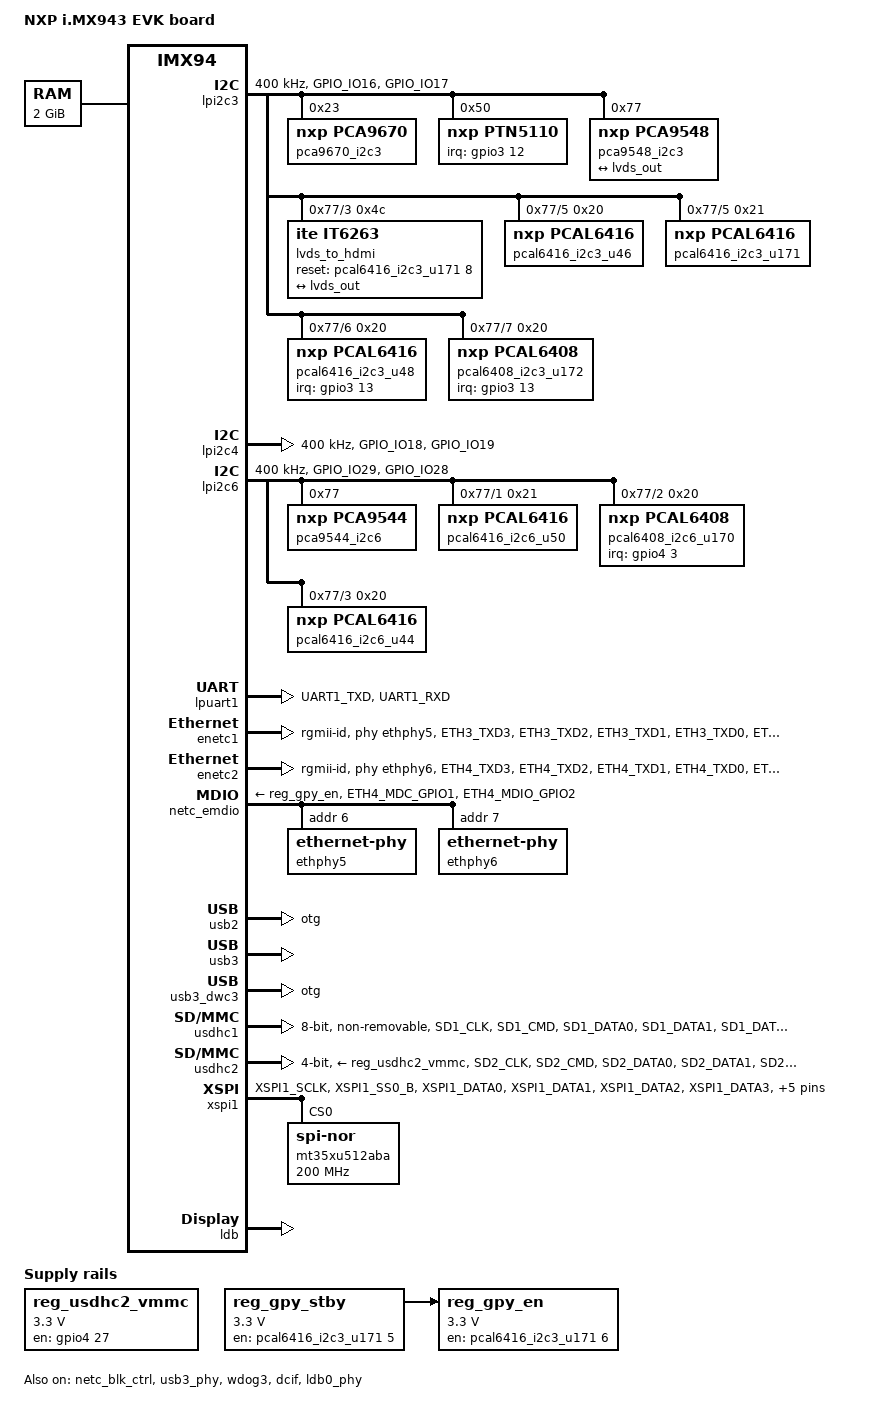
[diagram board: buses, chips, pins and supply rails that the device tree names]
// SPDX-License-Identifier: (GPL-2.0+ OR MIT)
/*
 * Copyright 2024-2025 NXP
 */

/dts-v1/;

#include "imx943.dtsi"
#include <dt-bindings/usb/pd.h>

/ {
	model = "NXP i.MX943 EVK board";
	compatible = "fsl,imx943-evk", "fsl,imx94";

	aliases {
		mmc0 = &usdhc1;
		mmc1 = &usdhc2;
		serial0 = &lpuart1;
		ethernet0 = &enetc3;
		ethernet1 = &enetc1;
		ethernet2 = &enetc2;
	};

	chosen {
		bootargs = "console=ttyLP0,115200 earlycon";
		stdout-path = &lpuart1;
	};

	memory@80000000 {
		device_type = "memory";
		reg = <0x0 0x80000000 0x0 0x80000000>;
	};

	reserved-memory {
		#address-cells = <2>;
		#size-cells = <2>;
		ranges;

		linux,cma {
			compatible = "shared-dma-pool";
			reusable;
			size = <0 0x10000000>;
			alloc-ranges = <0 0x80000000 0 0x7F000000>;
			linux,cma-default;
		};
	};

	reg_usdhc2_vmmc: regulator-usdhc2 {
		compatible = "regulator-fixed";
		pinctrl-names = "default";
		pinctrl-0 = <&pinctrl_reg_usdhc2_vmmc>;
		regulator-name = "VDD_SD2_3V3";
		regulator-min-microvolt = <3300000>;
		regulator-max-microvolt = <3300000>;
		gpio = <&gpio4 27 GPIO_ACTIVE_HIGH>;
		off-on-delay-us = <12000>;
		enable-active-high;
	};

	reg_gpy_stby: regulator-gpy-stby {
		compatible = "regulator-fixed";
		regulator-name = "gpy-stby";
		regulator-min-microvolt = <3300000>;
		regulator-max-microvolt = <3300000>;
		gpio = <&pcal6416_i2c3_u171 5 GPIO_ACTIVE_HIGH>;
		enable-active-high;
	};

	reg_gpy_en: regulator-gpy-en {
		compatible = "regulator-fixed";
		regulator-name = "gpy-en";
		regulator-min-microvolt = <3300000>;
		regulator-max-microvolt = <3300000>;
		vin-supply = <&reg_gpy_stby>;
		gpio = <&pcal6416_i2c3_u171 6 GPIO_ACTIVE_HIGH>;
		enable-active-high;
	};

};

&lpi2c3 {
	clock-frequency = <400000>;
	pinctrl-names = "default";
	pinctrl-0 = <&pinctrl_lpi2c3>;
	status = "okay";

	pca9670_i2c3: gpio@23 {
		compatible = "nxp,pca9670";
		reg = <0x23>;
		gpio-controller;
		#gpio-cells = <2>;
	};

	ptn5110: tcpc@50 {
		compatible = "nxp,ptn5110", "tcpci";
		reg = <0x50>;
		pinctrl-names = "default";
		pinctrl-0 = <&pinctrl_typec>;
		interrupt-parent = <&gpio3>;
		interrupts = <12 IRQ_TYPE_LEVEL_LOW>;

		typec_con: connector {
			compatible = "usb-c-connector";
			label = "USB-C";
			power-role = "dual";
			data-role = "dual";
			try-power-role = "sink";
			source-pdos = <PDO_FIXED(5000, 3000, PDO_FIXED_USB_COMM)>;
			sink-pdos = <PDO_FIXED(5000, 0, PDO_FIXED_USB_COMM)>;
			op-sink-microwatt = <0>;
			self-powered;

			/* ptn5110/ports is dropped */
		};
	};

	pca9548_i2c3: i2c-mux@77 {
		compatible = "nxp,pca9548";
		#address-cells = <1>;
		#size-cells = <0>;
		reg = <0x77>;

		i2c@0 {
			#address-cells = <1>;
			#size-cells = <0>;
			reg = <0>;
		};

		i2c@1 {
			#address-cells = <1>;
			#size-cells = <0>;
			reg = <1>;
		};

		i2c@2 {
			#address-cells = <1>;
			#size-cells = <0>;
			reg = <2>;
		};

		i2c@3 {
			#address-cells = <1>;
			#size-cells = <0>;
			reg = <3>;

			lvds_to_hdmi: bridge@4c {
				compatible = "ite,it6263";
				reg = <0x4c>;
				reset-gpios = <&pcal6416_i2c3_u171 8 GPIO_ACTIVE_HIGH>;

				ports {
					#address-cells = <1>;
					#size-cells = <0>;

					port@0 {
						reg = <0>;

						it6263_in: endpoint {
							remote-endpoint = <&lvds_out>;
						};
					};
				};
			};
		};

		i2c@4 {
			#address-cells = <1>;
			#size-cells = <0>;
			reg = <4>;

			ptn5150: tcpc@3d {
				compatible = "nxp,ptn5150";
				reg = <0x3d>;
				int-gpio = <&pcal6408_i2c3_u172 6 IRQ_TYPE_EDGE_FALLING>;
				status = "disabled";
			};
		};

		i2c@5 {
			#address-cells = <1>;
			#size-cells = <0>;
			reg = <5>;

			pcal6416_i2c3_u46: gpio@20 {
				compatible = "nxp,pcal6416";
				reg = <0x20>;
				gpio-controller;
				#gpio-cells = <2>;

				sd-card-on-hog {
					gpio-hog;
					gpios = <13 GPIO_ACTIVE_HIGH>;
					output-high;
				};
			};

			pcal6416_i2c3_u171: gpio@21 {
				compatible = "nxp,pcal6416";
				reg = <0x21>;
				gpio-controller;
				#gpio-cells = <2>;

				ethphy2-on-hog {
					gpio-hog;
					gpios = <2 GPIO_ACTIVE_HIGH>;
					output-high;
				};

				ethphy3-on-hog {
					gpio-hog;
					gpios = <3 GPIO_ACTIVE_HIGH>;
					output-high;
				};

				ethphy4-on-hog {
					gpio-hog;
					gpios = <4 GPIO_ACTIVE_HIGH>;
					output-high;
				};

				lvds-en-hog {
					gpio-hog;
					gpios = <9 GPIO_ACTIVE_HIGH>;
					output-high;
				};
			};
		};

		i2c@6 {
			#address-cells = <1>;
			#size-cells = <0>;
			reg = <6>;

			pcal6416_i2c3_u48: gpio@20 {
				compatible = "nxp,pcal6416";
				reg = <0x20>;
				gpio-controller;
				#gpio-cells = <2>;
				pinctrl-names = "default";
				pinctrl-0 = <&pinctrl_ioexpander_int>;
				interrupt-controller;
				#interrupt-cells = <2>;
				interrupt-parent = <&gpio3>;
				interrupts = <13 IRQ_TYPE_LEVEL_LOW>;
			};
		};

		i2c@7 {
			#address-cells = <1>;
			#size-cells = <0>;
			reg = <7>;

			pcal6408_i2c3_u172: gpio@20 {
				compatible = "nxp,pcal6408";
				reg = <0x20>;
				gpio-controller;
				#gpio-cells = <2>;
				interrupt-controller;
				#interrupt-cells = <2>;
				interrupt-parent = <&gpio3>;
				/* shared int pin with u48 */
				interrupts = <13 IRQ_TYPE_LEVEL_LOW>;
			};
		};
	};
};

&lpi2c4 {
	clock-frequency = <400000>;
	pinctrl-names = "default";
	pinctrl-0 = <&pinctrl_lpi2c4>;
	status = "okay";
};

&lpi2c6 {
	clock-frequency = <400000>;
	pinctrl-names = "default";
	pinctrl-0 = <&pinctrl_lpi2c6>;
	status = "okay";

	pca9544_i2c6: i2c-mux@77 {
		compatible = "nxp,pca9544";
		#address-cells = <1>;
		#size-cells = <0>;
		reg = <0x77>;

		i2c@0 {
			#address-cells = <1>;
			#size-cells = <0>;
			reg = <0>;
		};

		i2c@1 {
			#address-cells = <1>;
			#size-cells = <0>;
			reg = <1>;

			pcal6416_i2c6_u50: gpio@21 {
				compatible = "nxp,pcal6416";
				reg = <0x21>;
				gpio-controller;
				#gpio-cells = <2>;
			};
		};

		i2c@2 {
			#address-cells = <1>;
			#size-cells = <0>;
			reg = <2>;

			pcal6408_i2c6_u170: gpio@20 {
				compatible = "nxp,pcal6408";
				reg = <0x20>;
				gpio-controller;
				#gpio-cells = <2>;
				pinctrl-names = "default";
				pinctrl-0 = <&pinctrl_ioexpander_int2>;
				interrupt-controller;
				#interrupt-cells = <2>;
				interrupt-parent = <&gpio4>;
				interrupts = <3 IRQ_TYPE_LEVEL_LOW>;
			};
		};

		i2c@3 {
			#address-cells = <1>;
			#size-cells = <0>;
			reg = <3>;

			pcal6416_i2c6_u44: gpio@20 {
				compatible = "nxp,pcal6416";
				reg = <0x20>;
				gpio-controller;
				#gpio-cells = <2>;

				/* eMMC IOMUX selection */
				sd1-sel-hog {
					gpio-hog;
					gpios = <0 GPIO_ACTIVE_HIGH>;
					output-high;
				};

				/* SD card IOMUX selection */
				sd2-sel-hog {
					gpio-hog;
					gpios = <1 GPIO_ACTIVE_HIGH>;
					output-high;
				};

				/* Switch-port2/ENET0 IOMUX selection */
				switch-port2-sel-hog {
					gpio-hog;
					gpios = <2 GPIO_ACTIVE_HIGH>;
					output-high;
				};

				/* ENET1 IOMUX selection */
				enetc1-sel-hog {
					gpio-hog;
					gpios = <3 GPIO_ACTIVE_HIGH>;
					output-high;
				};

				/* ENET2 IOMUX selection */
				enetc2-sel-hog {
					gpio-hog;
					gpios = <4 GPIO_ACTIVE_HIGH>;
					output-high;
				};
			};
		};
	};
};

&lpi2c7 {
	clock-frequency = <400000>;
	pinctrl-names = "default";
	pinctrl-0 = <&pinctrl_lpi2c7>;
	status = "disabled";
};

&lpuart1 {
	/* console */
	pinctrl-names = "default";
	pinctrl-0 = <&pinctrl_uart1>;
	status = "okay";
};

&netc_blk_ctrl {
	assigned-clocks = <&scmi_clk IMX94_CLK_MAC2>,
			  <&scmi_clk IMX94_CLK_MAC4>,
			  <&scmi_clk IMX94_CLK_MAC5>;
	assigned-clock-parents = <&scmi_clk IMX94_CLK_SYSPLL1_PFD0>,
				 <&scmi_clk IMX94_CLK_SYSPLL1_PFD0>,
				 <&scmi_clk IMX94_CLK_SYSPLL1_PFD0>;
	assigned-clock-rates = <250000000>, <250000000>, <250000000>;
	status = "okay";
};

/* only enetc1 & enetc2 used in uboot */
&enetc1 {
	clocks = <&scmi_clk IMX94_CLK_MAC4>;
	clock-names = "enet_ref_clk";
	pinctrl-names = "default";
	pinctrl-0 = <&pinctrl_eth3>;
	phy-handle = <&ethphy5>;
	phy-mode = "rgmii-id";
	status = "okay";
};

&enetc2 {
	clocks = <&scmi_clk IMX94_CLK_MAC5>;
	clock-names = "enet_ref_clk";
	pinctrl-names = "default";
	pinctrl-0 = <&pinctrl_eth4>;
	phy-handle = <&ethphy6>;
	phy-mode = "rgmii-id";
	status = "okay";
};

&netc_emdio {
	pinctrl-names = "default";
	pinctrl-0 = <&pinctrl_emdio>;
	phy-supply = <&reg_gpy_en>;
	status = "okay";

	ethphy5: ethernet-phy@6 {
		reg = <0x6>;
		realtek,clkout-disable;
	};

	ethphy6: ethernet-phy@7 {
		reg = <0x7>;
		realtek,clkout-disable;
	};
};

&usb2 {
	dr_mode = "otg";
	hnp-disable;
	srp-disable;
	adp-disable;
	disable-over-current;
	status = "okay";
};

&usb3 {
	status = "okay";
};

&usb3_dwc3 {
	dr_mode = "otg";
	hnp-disable;
	srp-disable;
	adp-disable;
	usb-role-switch;
	role-switch-default-mode = "none";
	snps,dis-u1-entry-quirk;
	snps,dis-u2-entry-quirk;
	status = "okay";

	/* as ptn5110/ports is dropped,  usb3_phy/port also is dropped */
};

&usb3_phy {
	orientation-switch;
	status = "okay";

	/* as ptn5110/ports is dropped,  usb3_phy/port also is dropped */
};

&usdhc1 {
	pinctrl-names = "default", "state_100mhz", "state_200mhz", "sleep";
	pinctrl-0 = <&pinctrl_usdhc1>;
	pinctrl-1 = <&pinctrl_usdhc1_100mhz>;
	pinctrl-2 = <&pinctrl_usdhc1_200mhz>;
	pinctrl-3 = <&pinctrl_usdhc1>;
	bus-width = <8>;
	non-removable;
	no-sdio;
	no-sd;
	status = "okay";
};

&usdhc2 {
	pinctrl-names = "default", "state_100mhz", "state_200mhz", "sleep";
	pinctrl-0 = <&pinctrl_usdhc2>, <&pinctrl_usdhc2_gpio>;
	pinctrl-1 = <&pinctrl_usdhc2_100mhz>, <&pinctrl_usdhc2_gpio>;
	pinctrl-2 = <&pinctrl_usdhc2_200mhz>, <&pinctrl_usdhc2_gpio>;
	pinctrl-3 = <&pinctrl_usdhc2>, <&pinctrl_usdhc2_gpio>;
	cd-gpios = <&gpio4 20 GPIO_ACTIVE_LOW>;
	fsl,cd-gpio-wakeup-disable;
	vmmc-supply = <&reg_usdhc2_vmmc>;
	bus-width = <4>;
	status = "okay";
};

&wdog3 {
	status = "okay";
};

&xspi1 {
	pinctrl-names = "default";
	pinctrl-0 = <&pinctrl_xspi1>;
	nxp,xspi-env = <0>;
	nxp,xspi-gmid;
	status = "okay";

	mt35xu512aba: flash@0 {
		reg = <0>;
		#address-cells = <1>;
		#size-cells = <1>;
		compatible = "jedec,spi-nor";
		spi-max-frequency = <200000000>;
		spi-tx-bus-width = <8>;
		spi-rx-bus-width = <8>;
	};
};

&dcif {
	clocks = <&scmi_clk IMX94_CLK_DISPPIX>,
				 <&scmi_clk IMX94_CLK_DISPAPB>,
				 <&scmi_clk IMX94_CLK_DISPAXI>,
				 <&scmi_clk IMX94_CLK_LDBPLL>,
				 <&scmi_clk IMX94_CLK_LDBPLL_VCO>;
	assigned-clocks = <&dispmix_csr IMX94_CLK_DISPMIX_CLK_SEL>;
	assigned-clock-parents = <&ldb_pll_pixel>;
	status = "okay";
};

&ldb {
	assigned-clocks = <&scmi_clk IMX94_CLK_LDBPLL_VCO>,
			  <&scmi_clk IMX94_CLK_LDBPLL>;
	assigned-clock-parents = <0>,
			  <&scmi_clk IMX94_CLK_LDBPLL_VCO>;
	assigned-clock-rates = <4158000000>, <519750000>;
	status = "okay";

	channel@0 {
		fsl,data-mapping = "jeida";
		fsl,data-width = <24>;
		status = "okay";

		display-timings {
			native-mode = <&timing0>;

			timing0: timing0 {
				clock-frequency = <74250000>;
				hactive = <1280>;
				vactive = <720>;
				hfront-porch = <220>;
				hback-porch = <110>;
				hsync-len = <40>;
				vback-porch = <5>;
				vfront-porch = <20>;
				vsync-len = <5>;
			};
		};

		port@1 {
			reg = <1>;

			lvds_out: endpoint {
				remote-endpoint = <&it6263_in>;
			};
		};
	};
};

&ldb0_phy {
	status = "okay";
};


&scmi_iomuxc {
	pinctrl_ioexpander_int: ioexpanderintgrp {
		fsl,pins = <
			IMX94_PAD_GPIO_IO45__GPIO3_IO13		0x31e
		>;
	};

	pinctrl_ioexpander_int2: ioexpanderint2grp {
		fsl,pins = <
			IMX94_PAD_CCM_CLKO4__GPIO4_IO3		0x31e
		>;
	};

	pinctrl_emdio: emdiogrp{
		fsl,pins = <
			IMX94_PAD_ETH4_MDC_GPIO1__NETC_EMDC		0x57e
			IMX94_PAD_ETH4_MDIO_GPIO2__NETC_EMDIO		0x97e
		>;
	};

	pinctrl_eth3: eth3grp {
		fsl,pins = <
			IMX94_PAD_ETH3_TXD3__NETC_PINMUX_ETH3_TXD3		0x57e
			IMX94_PAD_ETH3_TXD2__NETC_PINMUX_ETH3_TXD2		0x57e
			IMX94_PAD_ETH3_TXD1__NETC_PINMUX_ETH3_TXD1		0x57e
			IMX94_PAD_ETH3_TXD0__NETC_PINMUX_ETH3_TXD0		0x57e
			IMX94_PAD_ETH3_TX_CTL__NETC_PINMUX_ETH3_TX_CTL		0x57e
			IMX94_PAD_ETH3_TX_CLK__NETC_PINMUX_ETH3_TX_CLK		0x5fe
			IMX94_PAD_ETH3_RX_CTL__NETC_PINMUX_ETH3_RX_CTL		0x57e
			IMX94_PAD_ETH3_RX_CLK__NETC_PINMUX_ETH3_RX_CLK		0x5fe
			IMX94_PAD_ETH3_RXD0__NETC_PINMUX_ETH3_RXD0		0x57e
			IMX94_PAD_ETH3_RXD1__NETC_PINMUX_ETH3_RXD1		0x57e
			IMX94_PAD_ETH3_RXD2__NETC_PINMUX_ETH3_RXD2		0x57e
			IMX94_PAD_ETH3_RXD3__NETC_PINMUX_ETH3_RXD3		0x57e
		>;
	};

	pinctrl_eth4: eth4grp {
		fsl,pins = <
			IMX94_PAD_ETH4_TXD3__NETC_PINMUX_ETH4_TXD3		0x57e
			IMX94_PAD_ETH4_TXD2__NETC_PINMUX_ETH4_TXD2		0x57e
			IMX94_PAD_ETH4_TXD1__NETC_PINMUX_ETH4_TXD1		0x57e
			IMX94_PAD_ETH4_TXD0__NETC_PINMUX_ETH4_TXD0		0x57e
			IMX94_PAD_ETH4_TX_CTL__NETC_PINMUX_ETH4_TX_CTL		0x57e
			IMX94_PAD_ETH4_TX_CLK__NETC_PINMUX_ETH4_TX_CLK		0x5fe
			IMX94_PAD_ETH4_RX_CTL__NETC_PINMUX_ETH4_RX_CTL		0x57e
			IMX94_PAD_ETH4_RX_CLK__NETC_PINMUX_ETH4_RX_CLK		0x5fe
			IMX94_PAD_ETH4_RXD0__NETC_PINMUX_ETH4_RXD0		0x57e
			IMX94_PAD_ETH4_RXD1__NETC_PINMUX_ETH4_RXD1		0x57e
			IMX94_PAD_ETH4_RXD2__NETC_PINMUX_ETH4_RXD2		0x57e
			IMX94_PAD_ETH4_RXD3__NETC_PINMUX_ETH4_RXD3		0x57e
		>;
	};

	pinctrl_uart1: uart1grp {
		fsl,pins = <
			IMX94_PAD_UART1_TXD__LPUART1_TX		0x31e
			IMX94_PAD_UART1_RXD__LPUART1_RX		0x31e
		>;
	};
	pinctrl_lpi2c3: lpi2c3grp {
		fsl,pins = <
			IMX94_PAD_GPIO_IO16__LPI2C3_SDA		0x40000b9e
			IMX94_PAD_GPIO_IO17__LPI2C3_SCL		0x40000b9e
		>;
	};

	pinctrl_lpi2c4: lpi2c4grp {
		fsl,pins = <
			IMX94_PAD_GPIO_IO18__LPI2C4_SDA		0x40000b9e
			IMX94_PAD_GPIO_IO19__LPI2C4_SCL		0x40000b9e
		>;
	};

	pinctrl_lpi2c6: lpi2c6grp {
		fsl,pins = <
			IMX94_PAD_GPIO_IO29__LPI2C6_SDA		0x40000b9e
			IMX94_PAD_GPIO_IO28__LPI2C6_SCL		0x40000b9e
		>;
	};

	pinctrl_lpi2c7: lpi2c7grp {
		fsl,pins = <
			IMX94_PAD_GPIO_IO34__LPI2C7_SDA		0x40000b9e
			IMX94_PAD_GPIO_IO35__LPI2C7_SCL		0x40000b9e
		>;
	};


	pinctrl_typec: typecgrp {
		fsl,pins = <
			IMX94_PAD_GPIO_IO44__GPIO3_IO12		0x31e
		>;
	};

	pinctrl_usdhc1: usdhc1grp {
		fsl,pins = <
			IMX94_PAD_SD1_CLK__USDHC1_CLK		0x158e
			IMX94_PAD_SD1_CMD__USDHC1_CMD		0x138e
			IMX94_PAD_SD1_DATA0__USDHC1_DATA0	0x138e
			IMX94_PAD_SD1_DATA1__USDHC1_DATA1	0x138e
			IMX94_PAD_SD1_DATA2__USDHC1_DATA2	0x138e
			IMX94_PAD_SD1_DATA3__USDHC1_DATA3	0x138e
			IMX94_PAD_SD1_DATA4__USDHC1_DATA4	0x138e
			IMX94_PAD_SD1_DATA5__USDHC1_DATA5	0x138e
			IMX94_PAD_SD1_DATA6__USDHC1_DATA6	0x138e
			IMX94_PAD_SD1_DATA7__USDHC1_DATA7	0x138e
			IMX94_PAD_SD1_STROBE__USDHC1_STROBE	0x158e
		>;
	};

	pinctrl_usdhc1_100mhz: usdhc1-100mhzgrp {
		fsl,pins = <
			IMX94_PAD_SD1_CLK__USDHC1_CLK		0x158e
			IMX94_PAD_SD1_CMD__USDHC1_CMD		0x138e
			IMX94_PAD_SD1_DATA0__USDHC1_DATA0	0x138e
			IMX94_PAD_SD1_DATA1__USDHC1_DATA1	0x138e
			IMX94_PAD_SD1_DATA2__USDHC1_DATA2	0x138e
			IMX94_PAD_SD1_DATA3__USDHC1_DATA3	0x138e
			IMX94_PAD_SD1_DATA4__USDHC1_DATA4	0x138e
			IMX94_PAD_SD1_DATA5__USDHC1_DATA5	0x138e
			IMX94_PAD_SD1_DATA6__USDHC1_DATA6	0x138e
			IMX94_PAD_SD1_DATA7__USDHC1_DATA7	0x138e
			IMX94_PAD_SD1_STROBE__USDHC1_STROBE	0x158e
		>;
	};

	pinctrl_usdhc1_200mhz: usdhc1-200mhzgrp {
		fsl,pins = <
			IMX94_PAD_SD1_CLK__USDHC1_CLK		0x15fe
			IMX94_PAD_SD1_CMD__USDHC1_CMD		0x13fe
			IMX94_PAD_SD1_DATA0__USDHC1_DATA0	0x13fe
			IMX94_PAD_SD1_DATA1__USDHC1_DATA1	0x13fe
			IMX94_PAD_SD1_DATA2__USDHC1_DATA2	0x13fe
			IMX94_PAD_SD1_DATA3__USDHC1_DATA3	0x13fe
			IMX94_PAD_SD1_DATA4__USDHC1_DATA4	0x13fe
			IMX94_PAD_SD1_DATA5__USDHC1_DATA5	0x13fe
			IMX94_PAD_SD1_DATA6__USDHC1_DATA6	0x13fe
			IMX94_PAD_SD1_DATA7__USDHC1_DATA7	0x13fe
			IMX94_PAD_SD1_STROBE__USDHC1_STROBE	0x15fe
		>;
	};

	pinctrl_usdhc2: usdhc2grp {
		fsl,pins = <
			IMX94_PAD_SD2_CLK__USDHC2_CLK		0x158e
			IMX94_PAD_SD2_CMD__USDHC2_CMD		0x138e
			IMX94_PAD_SD2_DATA0__USDHC2_DATA0	0x138e
			IMX94_PAD_SD2_DATA1__USDHC2_DATA1	0x138e
			IMX94_PAD_SD2_DATA2__USDHC2_DATA2	0x138e
			IMX94_PAD_SD2_DATA3__USDHC2_DATA3	0x138e
			IMX94_PAD_SD2_VSELECT__USDHC2_VSELECT	0x51e
		>;
	};

	pinctrl_usdhc2_100mhz: usdhc2-100mhzgrp {
		fsl,pins = <
			IMX94_PAD_SD2_CLK__USDHC2_CLK		0x158e
			IMX94_PAD_SD2_CMD__USDHC2_CMD		0x138e
			IMX94_PAD_SD2_DATA0__USDHC2_DATA0	0x138e
			IMX94_PAD_SD2_DATA1__USDHC2_DATA1	0x138e
			IMX94_PAD_SD2_DATA2__USDHC2_DATA2	0x138e
			IMX94_PAD_SD2_DATA3__USDHC2_DATA3	0x138e
			IMX94_PAD_SD2_VSELECT__USDHC2_VSELECT	0x51e
		>;
	};

	pinctrl_usdhc2_200mhz: usdhc2-200mhzgrp {
		fsl,pins = <
			IMX94_PAD_SD2_CLK__USDHC2_CLK		0x15fe
			IMX94_PAD_SD2_CMD__USDHC2_CMD		0x13fe
			IMX94_PAD_SD2_DATA0__USDHC2_DATA0	0x13fe
			IMX94_PAD_SD2_DATA1__USDHC2_DATA1	0x13fe
			IMX94_PAD_SD2_DATA2__USDHC2_DATA2	0x13fe
			IMX94_PAD_SD2_DATA3__USDHC2_DATA3	0x13fe
			IMX94_PAD_SD2_VSELECT__USDHC2_VSELECT	0x51e
		>;
	};

	pinctrl_usdhc2_gpio: usdhc2gpiogrp {
		fsl,pins = <
			IMX94_PAD_SD2_CD_B__GPIO4_IO20		0x31e
		>;
	};

	pinctrl_reg_usdhc2_vmmc: regusdhc2vmmcgrp {
		fsl,pins = <
			IMX94_PAD_SD2_RESET_B__GPIO4_IO27	0x31e
		>;
	};

	pinctrl_xspi1: xspi1grp {
		fsl,pins = <
			IMX94_PAD_XSPI1_SCLK__XSPI1_A_SCLK	0x3fe
			IMX94_PAD_XSPI1_SS0_B__XSPI1_A_SS0_B	0x3fe
			IMX94_PAD_XSPI1_DATA0__XSPI1_A_DATA0	0x3fe
			IMX94_PAD_XSPI1_DATA1__XSPI1_A_DATA1	0x3fe
			IMX94_PAD_XSPI1_DATA2__XSPI1_A_DATA2	0x3fe
			IMX94_PAD_XSPI1_DATA3__XSPI1_A_DATA3	0x3fe
			IMX94_PAD_XSPI1_DATA4__XSPI1_A_DATA4	0x3fe
			IMX94_PAD_XSPI1_DATA5__XSPI1_A_DATA5	0x3fe
			IMX94_PAD_XSPI1_DATA6__XSPI1_A_DATA6	0x3fe
			IMX94_PAD_XSPI1_DATA7__XSPI1_A_DATA7	0x3fe
			IMX94_PAD_XSPI1_DQS__XSPI1_A_DQS	0x3fe
		>;
	};
};
